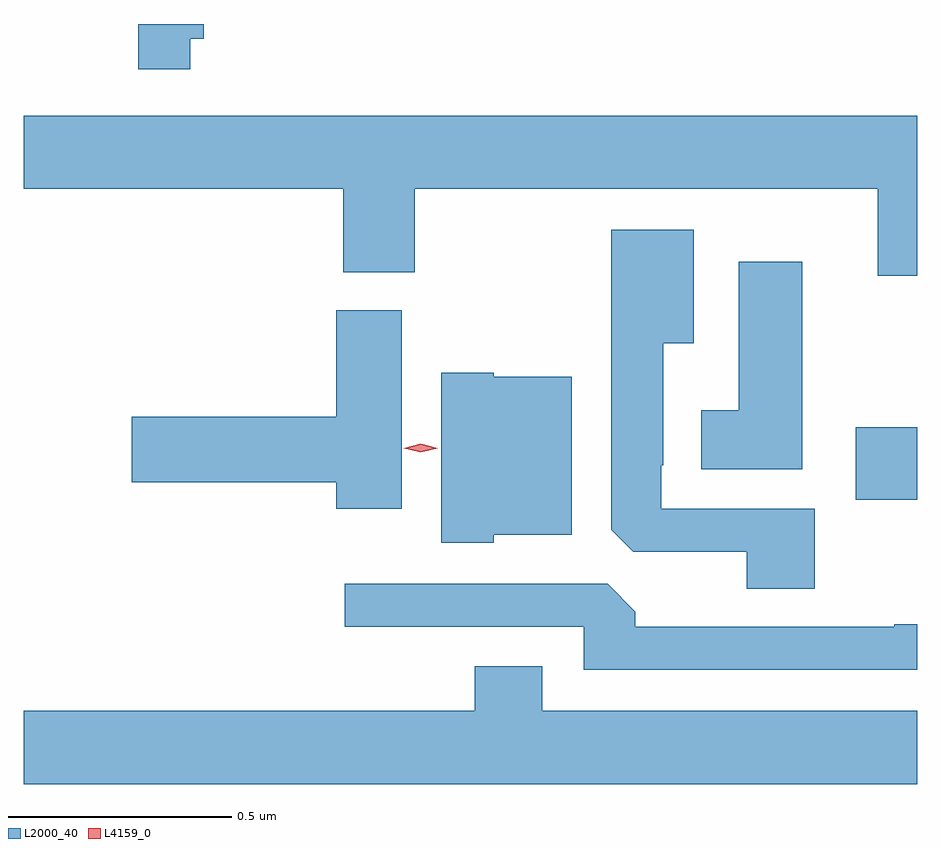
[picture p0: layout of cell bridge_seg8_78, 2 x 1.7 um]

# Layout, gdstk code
import gdstk
lib = gdstk.Library(unit=1e-6, precision=1e-09)
def R(c, l, rs):  # rectangles x0, y0, x1, y1
    for r in rs: c.add(gdstk.rectangle(r[:2], r[2:], *l))
def P(c, l, *ps):  # polygons
    for p in ps: c.add(gdstk.Polygon(p, *l))
L2000_40 = (2000, 40)
L4159_0 = (4159, 0)

bridge_seg8_78 = lib.new_cell('bridge_seg8_78')
R(bridge_seg8_78, L2000_40, [(951.948,1105.148,952.086,1105.311)])
P(bridge_seg8_78, L2000_40, [(950.459,1106.18),(950.489,1106.18),(950.489,1106.213),(950.342,1106.213),(950.342,1106.112),(950.459,1106.112)],
  [(952.086,1106.008),(950.086,1106.008),(950.086,1105.844),(950.801,1105.844),(950.801,1105.657),(950.961,1105.657),(950.961,1105.844),(951.998,1105.844),(951.998,1105.65),(952.086,1105.65)],
  [(951.857,1105.128),(951.513,1105.128),(951.513,1105.225),(951.517,1105.225),(951.517,1105.499),(951.586,1105.499),(951.586,1105.753),(951.401,1105.753),(951.401,1105.081),(951.45,1105.032),(951.704,1105.032),(951.704,1104.949),(951.857,1104.949)],
  [(951.829,1105.681),(951.686,1105.681),(951.686,1105.348),(951.602,1105.348),(951.602,1105.217),(951.829,1105.217)],
  [(950.932,1105.572),(950.786,1105.572),(950.786,1105.334),(950.328,1105.334),(950.328,1105.187),(950.786,1105.187),(950.786,1105.128),(950.932,1105.128)],
  [(951.138,1105.07),(951.313,1105.07),(951.313,1105.423),(951.138,1105.423),(951.138,1105.432),(951.02,1105.432),(951.02,1105.052),(951.138,1105.052)],
  [(952.086,1104.869),(952.034,1104.869),(952.034,1104.864),(951.455,1104.864),(951.455,1104.898),(951.393,1104.96),(950.805,1104.96),(950.805,1104.864),(951.339,1104.864),(951.339,1104.768),(952.086,1104.768)],
  [(952.086,1104.676),(951.247,1104.676),(951.247,1104.775),(951.095,1104.775),(951.095,1104.676),(950.086,1104.676),(950.086,1104.512),(952.086,1104.512)])
P(bridge_seg8_78, L4159_0, [(950.975,1105.254),(950.937,1105.264),(950.937,1105.264),(950.937,1105.264),(950.975,1105.274),(951.013,1105.264),(951.013,1105.264),(951.013,1105.264)])

lib.write_gds('bridge_seg8_78.gds')
